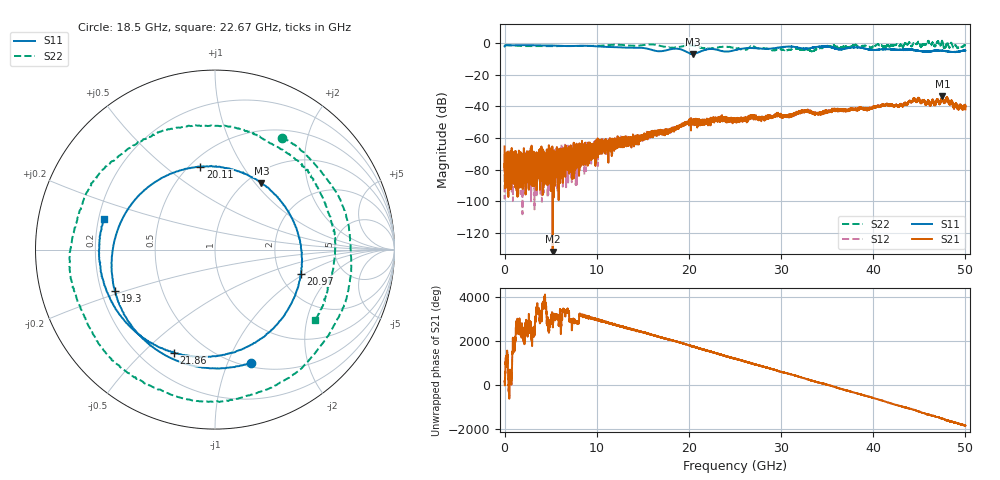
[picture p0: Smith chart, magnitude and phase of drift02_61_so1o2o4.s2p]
!Created with skrf (http://scikit-rf.org).
# Hz S RI R 50.0
!freq ReS11 ImS11 ReS21 ImS21 ReS12 ImS12 ReS22 ImS22
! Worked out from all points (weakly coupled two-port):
!   10001 points, 300 kHz to 50 GHz, reference 50 ohm
!   highest |S21| = -33.45 dB at 47.52 GHz (marker M1); lowest = -131.8 dB at 5.215 GHz (marker M2)
!   lowest |S11| = -6.9 dB at 20.43 GHz (marker M3), VSWR 2.64, Z = 58 + j53.8 ohm
!   |S11| at or under -10 dB: nowhere
!   |S22| runs from -5.4 to 1.6 dB; largest |S21 - S12| = 0.0027
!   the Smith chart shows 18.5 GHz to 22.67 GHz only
!   S11 on the Smith chart (normalised r, x): 18.5 GHz: 0.54, -1.21; 19.3 GHz: 0.26, -0.19; 20.11 GHz: 0.56, +0.67; 20.97 GHz: 2.59, -0.92; 21.86 GHz: 0.33, -0.63; 22.67 GHz: 0.22, +0.13
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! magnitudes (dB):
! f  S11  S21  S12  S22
! 300 kHz  -2.1  -65.4  -70.4  -1.3
! 290.3 MHz  -1.4  -75.3  -78.7  -1.4
! 5.215 GHz  -1.6  -131.8  -71.9  -2.0
! 8.335 GHz  -1.7  -66.3  -72.3  -1.9
! 16.67 GHz  -5.2  -55.8  -56.7  -1.5
! 18.5 GHz  -3.6  -54.1  -54.3  -2.8
! 19.3 GHz  -4.4  -52.4  -51.6  -2.1
! 20.11 GHz  -6.6  -50.2  -49.7  -1.5
! 20.43 GHz  -6.9  -48.4  -50.2  -1.8
! 20.97 GHz  -6.1  -50.0  -49.5  -2.2
! 21.86 GHz  -4.2  -48.9  -50.5  -3.5
! 22.67 GHz  -3.9  -47.9  -49.0  -3.3
! 25 GHz  -4.5  -48.3  -48.6  -3.2
! 26.12 GHz  -3.3  -48.2  -48.4  -4.3
! 26.91 GHz  -3.2  -46.0  -45.7  -1.7
! 28.24 GHz  -3.7  -47.2  -47.2  -3.5
! 33.34 GHz  -3.0  -44.2  -43.4  -5.0
! 34.89 GHz  -2.2  -42.5  -43.3  -2.3
! 41.67 GHz  -4.0  -39.7  -38.9  -2.0
! 44.38 GHz  -4.4  -35.4  -35.1  0.0
! 47.52 GHz  -4.9  -33.4  -34.1  1.4
! 50 GHz  -4.8  -42.0  -40.0  -1.4
